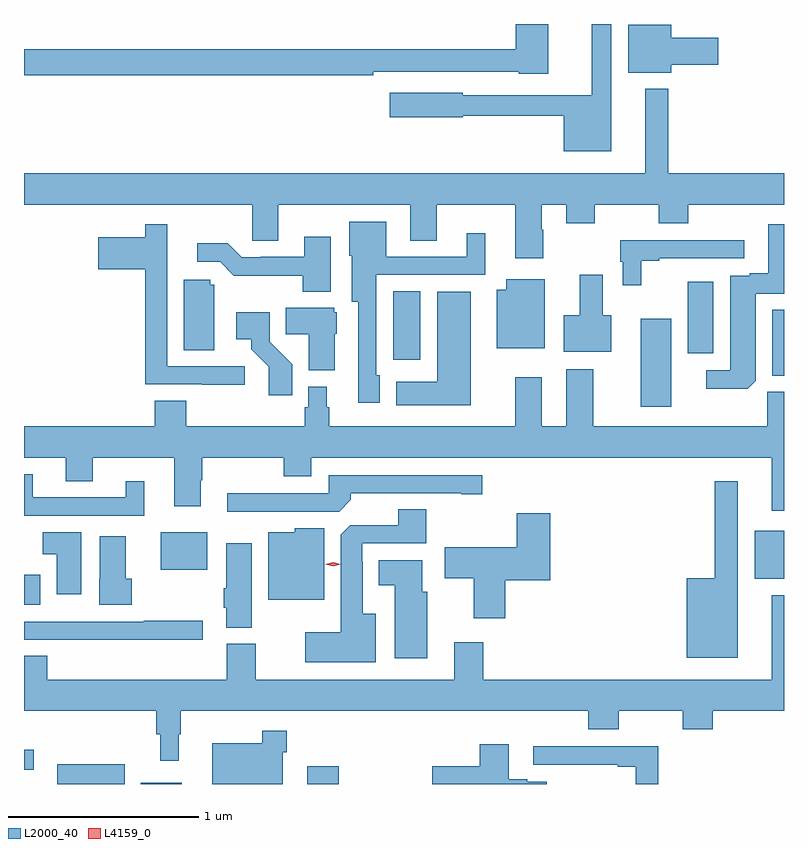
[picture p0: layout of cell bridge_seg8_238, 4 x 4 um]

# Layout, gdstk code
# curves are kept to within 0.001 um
import gdstk
lib = gdstk.Library(unit=1e-6, precision=1e-09)
def R(c, l, rs):  # rectangles x0, y0, x1, y1
    for r in rs: c.add(gdstk.rectangle(r[:2], r[2:], *l))
def P(c, l, *ps):  # polygons
    for p in ps: c.add(gdstk.Polygon(p, *l))
L2000_40 = (2000, 40)
L4159_0 = (4159, 0)

bridge_seg8_238 = lib.new_cell('bridge_seg8_238')
R(bridge_seg8_238, L2000_40, [(244.838,1150.746,245.191,1150.849), (245.276,1150.746,245.491,1150.753), (246.152,1150.746,246.318,1150.84), (244.662,1150.822,244.714,1150.925), (244.662,1151.69,244.747,1151.848), (248.507,1151.825,248.662,1152.079), (245.381,1151.873,245.626,1152.07), (247.907,1152.732,248.068,1153.195), (248.6,1152.895,248.662,1153.241), (246.605,1152.978,246.748,1153.34), (248.156,1153.014,248.29,1153.39)])
P(bridge_seg8_238, L2000_40, [(246.5,1154.496),(247.266,1154.496),(247.266,1154.483),(247.42,1154.483),(247.42,1154.746),(247.25,1154.746),(247.25,1154.612),(244.662,1154.612),(244.662,1154.476),(246.5,1154.476)],
  [(247.753,1154.746),(247.649,1154.746),(247.649,1154.37),(246.972,1154.37),(246.972,1154.383),(246.588,1154.383),(246.588,1154.254),(246.972,1154.254),(246.972,1154.262),(247.502,1154.262),(247.502,1154.075),(247.753,1154.075)],
  [(248.068,1154.531),(248.317,1154.531),(248.317,1154.673),(248.068,1154.673),(248.068,1154.743),(247.841,1154.743),(247.841,1154.489),(248.068,1154.489)],
  [(247.395,1153.662),(247.387,1153.662),(247.387,1153.796),(247.517,1153.796),(247.517,1153.697),(247.665,1153.697),(247.665,1153.796),(248.002,1153.796),(248.002,1153.697),(248.157,1153.697),(248.157,1153.796),(248.662,1153.796),(248.662,1153.96),(248.053,1153.96),(248.053,1154.404),(247.931,1154.404),(247.931,1153.96),(244.662,1153.96),(244.662,1153.796),(245.862,1153.796),(245.862,1153.606),(246.001,1153.606),(246.001,1153.796),(246.695,1153.796),(246.695,1153.606),(246.835,1153.606),(246.835,1153.796),(247.247,1153.796),(247.247,1153.512),(247.395,1153.512)],
  [(246.535,1152.897),(246.516,1152.897),(246.516,1153.425),(247.09,1153.425),(247.09,1153.645),(246.992,1153.645),(246.992,1153.521),(246.568,1153.521),(246.568,1153.705),(246.374,1153.705),(246.374,1153.527),(246.387,1153.527),(246.387,1153.283),(246.42,1153.283),(246.42,1152.753),(246.535,1152.753)],
  [(248.512,1152.868),(248.512,1153.326),(248.662,1153.326),(248.662,1153.693),(248.579,1153.693),(248.579,1153.435),(248.483,1153.435),(248.483,1153.422),(248.378,1153.422),(248.378,1152.924),(248.253,1152.924),(248.253,1152.827),(248.471,1152.827)],
  [(245.824,1152.945),(245.415,1152.945),(245.415,1153.47),(245.416,1153.47),(245.416,1153.693),(245.299,1153.693),(245.299,1153.624),(245.052,1153.624),(245.052,1153.454),(245.299,1153.454),(245.299,1152.849),(245.599,1152.849),(245.599,1152.847),(245.824,1152.847)],
  [(246.277,1153.627),(246.137,1153.627),(246.137,1153.521),(245.908,1153.521),(245.908,1153.518),(245.808,1153.518),(245.735,1153.591),(245.574,1153.591),(245.574,1153.494),(245.694,1153.494),(245.767,1153.421),(246.13,1153.422),(246.13,1153.337),(246.277,1153.337)],
  [(247.911,1153.5),(248.005,1153.5),(248.005,1153.512),(248.452,1153.512),(248.452,1153.608),(247.8,1153.608),(247.8,1153.494),(247.812,1153.494),(247.812,1153.371),(247.911,1153.371)],
  [(247.753,1153.213),(247.708,1153.213),(247.708,1153.426),(247.586,1153.426),(247.586,1153.213),(247.502,1153.213),(247.502,1153.022),(247.753,1153.022)],
  [(247.402,1153.402),(247.199,1153.402),(247.199,1153.348),(247.151,1153.348),(247.151,1153.04),(247.402,1153.04)],
  [(245.662,1153.374),(245.643,1153.374),(245.643,1153.401),(245.504,1153.401),(245.504,1153.03),(245.662,1153.03)],
  [(247.012,1153.336),(246.836,1153.336),(246.836,1152.862),(246.62,1152.862),(246.62,1152.74),(247.012,1152.74)],
  [(246.298,1153.116),(246.309,1153.116),(246.309,1153.23),(246.294,1153.23),(246.294,1153.252),(246.04,1153.252),(246.04,1153.114),(246.161,1153.114),(246.161,1152.923),(246.298,1152.923)],
  [(246.074,1152.954),(245.955,1153.073),(245.955,1153.228),(245.778,1153.228),(245.778,1153.088),(245.858,1153.088),(245.858,1153.033),(245.886,1153.005),(245.949,1152.943),(245.949,1152.792),(246.074,1152.792)],
  [(248.662,1152.81),(248.575,1152.81),(248.575,1152.628),(247.657,1152.628),(247.657,1152.928),(247.517,1152.928),(247.517,1152.628),(247.387,1152.628),(247.387,1152.886),(247.247,1152.886),(247.247,1152.628),(246.268,1152.628),(246.268,1152.729),(246.256,1152.729),(246.256,1152.838),(246.159,1152.838),(246.159,1152.729),(246.139,1152.729),(246.139,1152.628),(245.516,1152.628),(245.516,1152.764),(245.351,1152.764),(245.351,1152.628),(244.662,1152.628),(244.662,1152.464),(244.883,1152.464),(244.883,1152.34),(245.023,1152.34),(245.023,1152.464),(245.453,1152.464),(245.453,1152.207),(245.593,1152.207),(245.593,1152.344),(245.601,1152.344),(245.601,1152.464),(246.028,1152.464),(246.028,1152.365),(246.175,1152.365),(246.175,1152.464),(248.597,1152.464),(248.597,1152.183),(248.662,1152.183)],
  [(245.296,1152.34),(245.198,1152.34),(245.198,1152.255),(244.708,1152.255),(244.708,1152.375),(244.662,1152.375),(244.662,1152.159),(245.296,1152.159)],
  [(246.383,1152.242),(246.383,1152.276),(246.962,1152.276),(246.962,1152.271),(247.075,1152.271),(247.075,1152.372),(246.267,1152.372),(246.267,1152.276),(245.733,1152.276),(245.733,1152.18),(246.321,1152.18)],
  [(248.419,1152.34),(248.298,1152.34),(248.298,1151.83),(248.15,1151.83),(248.15,1151.411),(248.419,1151.411)],
  [(246.514,1151.641),(246.445,1151.641),(246.445,1151.915),(246.441,1151.915),(246.441,1152.012),(246.78,1152.012),(246.78,1152.191),(246.632,1152.191),(246.632,1152.108),(246.378,1152.108),(246.329,1152.059),(246.329,1151.545),(246.141,1151.545),(246.141,1151.387),(246.514,1151.387)],
  [(247.196,1151.819),(247.433,1151.819),(247.433,1152.172),(247.255,1152.172),(247.255,1151.992),(246.876,1151.992),(246.876,1151.83),(247.028,1151.83),(247.028,1151.619),(247.196,1151.619)],
  [(246.241,1152.091),(246.087,1152.091),(246.087,1152.07),(245.948,1152.07),(245.948,1151.717),(246.241,1151.717)],
  [(244.963,1152.07),(244.761,1152.07),(244.761,1151.954),(244.835,1151.954),(244.835,1151.745),(244.963,1151.745)],
  [(245.228,1151.826),(245.197,1151.826),(245.197,1152.049),(245.06,1152.049),(245.06,1151.826),(245.057,1151.826),(245.057,1151.69),(245.228,1151.69)],
  [(245.86,1152.013),(245.726,1152.013),(245.726,1151.777),(245.714,1151.777),(245.714,1151.674),(245.726,1151.674),(245.726,1151.569),(245.86,1151.569)],
  [(246.784,1151.757),(246.757,1151.757),(246.757,1151.923),(246.53,1151.923),(246.53,1151.792),(246.614,1151.792),(246.614,1151.409),(246.784,1151.409)],
  [(245.476,1151.009),(245.488,1151.009),(245.488,1151.132),(247.631,1151.132),(247.631,1151.033),(247.791,1151.033),(247.791,1151.132),(248.128,1151.132),(248.128,1151.033),(248.288,1151.033),(248.288,1151.132),(248.662,1151.132),(248.662,1151.74),(248.597,1151.74),(248.597,1151.296),(247.079,1151.296),(247.079,1151.491),(246.926,1151.491),(246.926,1151.296),(245.881,1151.296),(245.881,1151.484),(245.729,1151.484),(245.729,1151.296),(244.784,1151.296),(244.784,1151.42),(244.662,1151.42),(244.662,1151.132),(245.359,1151.132),(245.359,1151.009),(245.378,1151.009),(245.378,1150.869),(245.476,1150.869)],
  [(245.602,1151.606),(245.293,1151.606),(245.293,1151.601),(244.662,1151.601),(244.662,1151.505),(244.867,1151.505),(244.867,1151.504),(245.602,1151.504)],
  [(246.024,1150.913),(246.044,1150.913),(246.044,1151.026),(245.916,1151.026),(245.916,1150.96),(245.654,1150.96),(245.654,1150.746),(246.024,1150.746)],
  [(247.414,1150.758),(247.31,1150.758),(247.31,1150.771),(247.213,1150.771),(247.213,1150.954),(247.061,1150.954),(247.061,1150.839),(246.81,1150.839),(246.81,1150.746),(247.414,1150.746)],
  [(248,1150.944),(247.341,1150.944),(247.341,1150.848),(247.787,1150.848),(247.787,1150.836),(247.882,1150.836),(247.882,1150.746),(248,1150.746)])
P(bridge_seg8_238, L4159_0, [(246.289,1151.892),(246.248,1151.902),(246.248,1151.902),(246.248,1151.902),(246.289,1151.912),(246.33,1151.902),(246.33,1151.902),(246.33,1151.902)])

lib.write_gds('bridge_seg8_238.gds')
